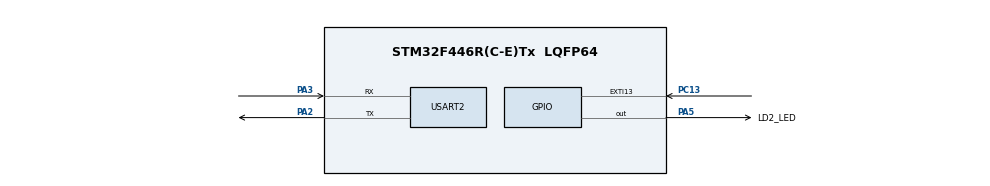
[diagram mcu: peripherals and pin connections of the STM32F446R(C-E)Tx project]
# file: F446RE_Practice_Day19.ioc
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Mcu.Family=STM32F4
Mcu.Name=STM32F446R(C-E)Tx
Mcu.Package=LQFP64
NVIC.EXTI15_10_IRQn=true\:0\:0\:false\:false\:true\:true\:true\:true
NVIC.PriorityGroup=NVIC_PRIORITYGROUP_4
PA13.Mode=Serial_Wire
PA13.Signal=SYS_JTMS-SWDIO
PA14.Mode=Serial_Wire
PA14.Signal=SYS_JTCK-SWCLK
PA2.Mode=Asynchronous
PA2.Signal=USART2_TX
PA3.Mode=Asynchronous
PA3.Signal=USART2_RX
PA5.GPIO_Label=LD2_LED
PA5.Signal=GPIO_Output
PC13.GPIO_ModeDefaultEXTI=GPIO_MODE_IT_FALLING
PC13.Signal=GPXTI13
ProjectManager.HeapSize=0x200
ProjectManager.StackSize=0x400
ProjectManager.TargetToolchain=STM32CubeIDE
RCC.CortexFreq_Value=16000000
RCC.USBFreq_Value=96000000
RCC.VCOOutputFreq_Value=192000000
USART2.VirtualMode=VM_ASYNC
board=custom

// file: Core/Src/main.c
/* USER CODE BEGIN Header */
/**
  ******************************************************************************
  * @file           : main.c
  * @brief          : Main program body
  ******************************************************************************
  * @attention
  *
  * Copyright (c) 2026 STMicroelectronics.
  * All rights reserved.
  *
  * This software is licensed under terms that can be found in the LICENSE file
  * in the root directory of this software component.
  * If no LICENSE file comes with this software, it is provided AS-IS.
  *
  ******************************************************************************
  */
/* USER CODE END Header */
#include "main.h"

UART_HandleTypeDef huart2;

/* USER CODE BEGIN PV */

#define RETAIN_MAGIC  0x5245544EU  /* ASCII: RETN */

typedef struct
{
    uint32_t magic;
    uint32_t reset_count;
    uint32_t last_reset_flags;
} RetainedData_t;

/*
 * 位於 .noinit：
 * Startup Code 不會自動清零。
 */
__attribute__((section(".noinit"), used))
volatile RetainedData_t retained_data;

/*
 * 一般未初始化全域變數位於 .bss。
 * 每次 Reset 都會被 Startup Code 清成 0。
 */
volatile uint32_t normal_bss_counter;

volatile uint32_t software_reset_seen;
volatile uint8_t reset_requested;

/* USER CODE END PV */

void SystemClock_Config(void);
static void MX_GPIO_Init(void);
static void MX_USART2_UART_Init(void);

int main(void)
{

  /* MCU Configuration--------------------------------------------------------*/

  /* Reset of all peripherals, Initializes the Flash interface and the Systick. */
  HAL_Init();

  /* Configure the system clock */
  SystemClock_Config();

  /* Initialize all configured peripherals */
  MX_GPIO_Init();
  MX_USART2_UART_Init();
  /* USER CODE BEGIN 2 */

  uint32_t reset_flags = RCC->CSR;

  /*
   * SRAM 剛上電時內容不保證為 0，
   * 所以使用 magic 判斷資料是否有效。
   */
  if (retained_data.magic != RETAIN_MAGIC)
  {
      retained_data.magic = RETAIN_MAGIC;
      retained_data.reset_count = 0U;
      retained_data.last_reset_flags = 0U;
  }

  retained_data.reset_count++;
  retained_data.last_reset_flags = reset_flags;

  /*
   * .bss 每次 Reset 前都會被 Startup Code 清零，
   * 因此它每次進入 main() 後都只會變成 1。
   */
  normal_bss_counter++;

  software_reset_seen =
      ((reset_flags & RCC_CSR_SFTRSTF) != 0U) ? 1U : 0U;

  /*
   * 清除 Reset Cause Flags，
   * 避免下一次讀到舊狀態。
   */
  __HAL_RCC_CLEAR_RESET_FLAGS();

  /* USER CODE END 2 */

  /* Infinite loop */
  while (1)
  {

    /* USER CODE BEGIN 3 */

	  if (reset_requested != 0U)
	     {
	         reset_requested = 0U;

	         /*
	          * 簡易防彈跳，現在是在主程式而非 ISR。
	          */
	         HAL_Delay(100U);

	         /*
	          * 觸發 Cortex-M 系統重置。
	          */
	         NVIC_SystemReset();
	     }

  }
  /* USER CODE END 3 */
}

void SystemClock_Config(void)
{
  RCC_OscInitTypeDef RCC_OscInitStruct = {0};
  RCC_ClkInitTypeDef RCC_ClkInitStruct = {0};

  /** Configure the main internal regulator output voltage
  */
  __HAL_RCC_PWR_CLK_ENABLE();
  __HAL_PWR_VOLTAGESCALING_CONFIG(PWR_REGULATOR_VOLTAGE_SCALE3);

  /** Initializes the RCC Oscillators according to the specified parameters
  * in the RCC_OscInitTypeDef structure.
  */
  RCC_OscInitStruct.OscillatorType = RCC_OSCILLATORTYPE_HSI;
  RCC_OscInitStruct.HSIState = RCC_HSI_ON;
  RCC_OscInitStruct.HSICalibrationValue = RCC_HSICALIBRATION_DEFAULT;
  RCC_OscInitStruct.PLL.PLLState = RCC_PLL_NONE;
  if (HAL_RCC_OscConfig(&RCC_OscInitStruct) != HAL_OK)
  {
    Error_Handler();
  }

  /** Initializes the CPU, AHB and APB buses clocks
  */
  RCC_ClkInitStruct.ClockType = RCC_CLOCKTYPE_HCLK|RCC_CLOCKTYPE_SYSCLK
                              |RCC_CLOCKTYPE_PCLK1|RCC_CLOCKTYPE_PCLK2;
  RCC_ClkInitStruct.SYSCLKSource = RCC_SYSCLKSOURCE_HSI;
  RCC_ClkInitStruct.AHBCLKDivider = RCC_SYSCLK_DIV1;
  RCC_ClkInitStruct.APB1CLKDivider = RCC_HCLK_DIV1;
  RCC_ClkInitStruct.APB2CLKDivider = RCC_HCLK_DIV1;

  if (HAL_RCC_ClockConfig(&RCC_ClkInitStruct, FLASH_LATENCY_0) != HAL_OK)
  {
    Error_Handler();
  }
}

static void MX_USART2_UART_Init(void)
{

  huart2.Instance = USART2;
  huart2.Init.BaudRate = 115200;
  huart2.Init.WordLength = UART_WORDLENGTH_8B;
  huart2.Init.StopBits = UART_STOPBITS_1;
  huart2.Init.Parity = UART_PARITY_NONE;
  huart2.Init.Mode = UART_MODE_TX_RX;
  huart2.Init.HwFlowCtl = UART_HWCONTROL_NONE;
  huart2.Init.OverSampling = UART_OVERSAMPLING_16;
  if (HAL_UART_Init(&huart2) != HAL_OK)
  {
    Error_Handler();
  }

}

static void MX_GPIO_Init(void)
{
  GPIO_InitTypeDef GPIO_InitStruct = {0};

  /* GPIO Ports Clock Enable */
  __HAL_RCC_GPIOC_CLK_ENABLE();
  __HAL_RCC_GPIOA_CLK_ENABLE();

  /*Configure GPIO pin Output Level */
  HAL_GPIO_WritePin(LD2_LED_GPIO_Port, LD2_LED_Pin, GPIO_PIN_RESET);

  /*Configure GPIO pin : PC13 */
  GPIO_InitStruct.Pin = GPIO_PIN_13;
  GPIO_InitStruct.Mode = GPIO_MODE_IT_FALLING;
  GPIO_InitStruct.Pull = GPIO_NOPULL;
  HAL_GPIO_Init(GPIOC, &GPIO_InitStruct);

  /*Configure GPIO pin : LD2_LED_Pin */
  GPIO_InitStruct.Pin = LD2_LED_Pin;
  GPIO_InitStruct.Mode = GPIO_MODE_OUTPUT_PP;
  GPIO_InitStruct.Pull = GPIO_NOPULL;
  GPIO_InitStruct.Speed = GPIO_SPEED_FREQ_LOW;
  HAL_GPIO_Init(LD2_LED_GPIO_Port, &GPIO_InitStruct);

  /* EXTI interrupt init*/
  HAL_NVIC_SetPriority(EXTI15_10_IRQn, 0, 0);
  HAL_NVIC_EnableIRQ(EXTI15_10_IRQn);

}

/* USER CODE BEGIN 4 */

void HAL_GPIO_EXTI_Callback(uint16_t GPIO_Pin)
{
    if (GPIO_Pin == GPIO_PIN_13)
    {
        /*
         * ISR 不直接 Delay，也不立即 Reset。
         * 只通知主程式處理。
         */
        reset_requested = 1U;
    }
}

/* USER CODE END 4 */

void Error_Handler(void)
{
  __disable_irq();
  while (1)
  {
  }
}
